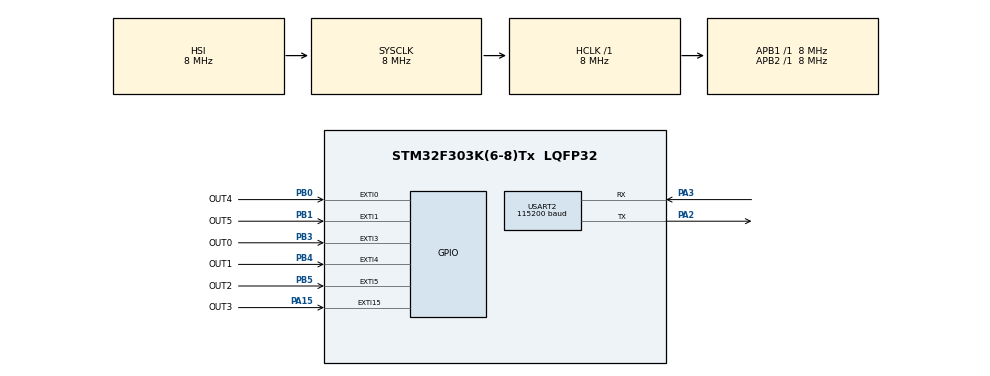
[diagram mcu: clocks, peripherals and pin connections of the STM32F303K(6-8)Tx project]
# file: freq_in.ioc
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Mcu.Family=STM32F3
RCC.CortexFreq_Value=8000000
PB4.GPIO_ModeDefaultEXTI=GPIO_MODE_IT_RISING_FALLING
NVIC.EXTI3_IRQn=true\:0\:0\:false\:false\:true\:true\:true
PB0.GPIO_Label=OUT4
PB3.GPIO_ModeDefaultEXTI=GPIO_MODE_IT_RISING_FALLING
USART2.BaudRate=115200
ProjectManager.StackSize=0x400
PA3.Mode=Asynchronous
PA15.GPIO_Label=OUT3
ProjectManager.TargetToolchain=STM32CubeIDE
PA15.GPIO_ModeDefaultEXTI=GPIO_MODE_IT_RISING_FALLING
PB1.GPIO_ModeDefaultEXTI=GPIO_MODE_IT_RISING_FALLING
RCC.AHBFreq_Value=8000000
NVIC.EXTI15_10_IRQn=true\:0\:0\:false\:false\:true\:true\:true
RCC.HSE_VALUE=8000000
board=custom
USART2.VirtualMode-Asynchronous=VM_ASYNC
PB0.GPIO_ModeDefaultEXTI=GPIO_MODE_IT_RISING_FALLING
RCC.APB2Freq_Value=8000000
PB4.GPIO_Label=OUT1
VP_TIM2_VS_ClockSourceINT.Mode=Internal
PB1.GPIO_Label=OUT5
Mcu.Name=STM32F303K(6-8)Tx
VP_TIM1_VS_ClockSourceINT.Mode=Internal
PA2.Signal=USART2_TX
PB3.Signal=GPXTI3
RCC.SYSCLKFreq_VALUE=8000000
Mcu.Package=LQFP32
PB5.Signal=GPXTI5
PB1.Signal=GPXTI1
VP_TIM15_VS_ClockSourceINT.Mode=Internal
PA15.Signal=GPXTI15
ProjectManager.HeapSize=0x200
RCC.HSI_VALUE=8000000
NVIC.PriorityGroup=NVIC_PRIORITYGROUP_4
PB5.GPIO_Label=OUT2
PA2.Mode=Asynchronous
RCC.APB1Freq_Value=8000000
PB0.Signal=GPXTI0
VP_TIM3_VS_ClockSourceINT.Mode=Internal
PB4.Signal=GPXTI4
PA3.Signal=USART2_RX
PB3.GPIO_Label=OUT0
PB5.GPIO_ModeDefaultEXTI=GPIO_MODE_IT_RISING_FALLING

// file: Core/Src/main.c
/* USER CODE BEGIN Header */
/**
  ******************************************************************************
  * @file           : main.c
  * @brief          : Main program body
  ******************************************************************************
  * @attention
  *
  * <h2><center>&copy; Copyright (c) 2021 STMicroelectronics.
  * All rights reserved.</center></h2>
  *
  * This software component is licensed by ST under BSD 3-Clause license,
  * the "License"; You may not use this file except in compliance with the
  * License. You may obtain a copy of the License at:
  *                        opensource.org/licenses/BSD-3-Clause
  *
  ******************************************************************************
  */
/* USER CODE END Header */
#include "main.h"

/* USER CODE BEGIN Includes */

#include <stdio.h>
#include "DWT.h"

/* USER CODE END Includes */

TIM_HandleTypeDef htim1;
TIM_HandleTypeDef htim2;
TIM_HandleTypeDef htim3;
TIM_HandleTypeDef htim15;

UART_HandleTypeDef huart2;

void SystemClock_Config(void);
static void MX_GPIO_Init(void);
static void MX_TIM2_Init(void);
static void MX_TIM3_Init(void);
static void MX_TIM1_Init(void);
static void MX_TIM15_Init(void);
static void MX_USART2_UART_Init(void);

/* USER CODE BEGIN 0 */

float us[4] = {};

void HAL_GPIO_EXTI_Callback(uint16_t GPIO_Pin)
{
	//経過時間を計測し、タイマーをリセット
	switch(GPIO_Pin) {
		case GPIO_PIN_3:
			us[0] = getTimeUs(htim1.Instance->CNT);

			htim1.Instance->CNT = 0;
			HAL_TIM_Base_Start_IT(&htim1);
			break;
		case GPIO_PIN_4:
			us[1] = getTimeUs(htim2.Instance->CNT);

			htim2.Instance->CNT = 0;
			HAL_TIM_Base_Start_IT(&htim2);
			break;
		case GPIO_PIN_5:
			us[2] = getTimeUs(htim3.Instance->CNT);

			htim3.Instance->CNT = 0;
			HAL_TIM_Base_Start_IT(&htim3);
			break;
		case GPIO_PIN_15:
			us[3] = getTimeUs(htim15.Instance->CNT);

			htim15.Instance->CNT = 0;
			HAL_TIM_Base_Start_IT(&htim15);
			break;
	}
}

/* USER CODE END 0 */

int main(void)
{
  /* USER CODE BEGIN 1 */

	setbuf(stdout, NULL);

  /* USER CODE END 1 */

  /* MCU Configuration--------------------------------------------------------*/

  /* Reset of all peripherals, Initializes the Flash interface and the Systick. */
  HAL_Init();

  /* Configure the system clock */
  SystemClock_Config();

  /* Initialize all configured peripherals */
  MX_GPIO_Init();
  MX_TIM2_Init();
  MX_TIM3_Init();
  MX_TIM1_Init();
  MX_TIM15_Init();
  MX_USART2_UART_Init();
  /* USER CODE BEGIN 2 */

  printf("Hello World!\n\r");

  /* USER CODE END 2 */

  /* Infinite loop */
  /* USER CODE BEGIN WHILE */
  while (1)
  {
	  HAL_Delay(500);
	  for(int i = 0; i < 4; i++) {
		  printf("OUT%d:%d ", i, (int)(500000 / us[i]));
	  }
	  printf("\n\r");
    /* USER CODE END WHILE */

  }
}

void SystemClock_Config(void)
{
  RCC_OscInitTypeDef RCC_OscInitStruct = {0};
  RCC_ClkInitTypeDef RCC_ClkInitStruct = {0};
  RCC_PeriphCLKInitTypeDef PeriphClkInit = {0};

  /** Initializes the RCC Oscillators according to the specified parameters
  * in the RCC_OscInitTypeDef structure.
  */
  RCC_OscInitStruct.OscillatorType = RCC_OSCILLATORTYPE_HSI;
  RCC_OscInitStruct.HSIState = RCC_HSI_ON;
  RCC_OscInitStruct.HSICalibrationValue = RCC_HSICALIBRATION_DEFAULT;
  RCC_OscInitStruct.PLL.PLLState = RCC_PLL_NONE;
  if (HAL_RCC_OscConfig(&RCC_OscInitStruct) != HAL_OK)
  {
    Error_Handler();
  }
  /** Initializes the CPU, AHB and APB buses clocks
  */
  RCC_ClkInitStruct.ClockType = RCC_CLOCKTYPE_HCLK|RCC_CLOCKTYPE_SYSCLK
                              |RCC_CLOCKTYPE_PCLK1|RCC_CLOCKTYPE_PCLK2;
  RCC_ClkInitStruct.SYSCLKSource = RCC_SYSCLKSOURCE_HSI;
  RCC_ClkInitStruct.AHBCLKDivider = RCC_SYSCLK_DIV1;
  RCC_ClkInitStruct.APB1CLKDivider = RCC_HCLK_DIV1;
  RCC_ClkInitStruct.APB2CLKDivider = RCC_HCLK_DIV1;

  if (HAL_RCC_ClockConfig(&RCC_ClkInitStruct, FLASH_LATENCY_0) != HAL_OK)
  {
    Error_Handler();
  }
  PeriphClkInit.PeriphClockSelection = RCC_PERIPHCLK_TIM1;
  PeriphClkInit.Tim1ClockSelection = RCC_TIM1CLK_HCLK;
  if (HAL_RCCEx_PeriphCLKConfig(&PeriphClkInit) != HAL_OK)
  {
    Error_Handler();
  }
}

static void MX_TIM1_Init(void)
{

  TIM_ClockConfigTypeDef sClockSourceConfig = {0};
  TIM_MasterConfigTypeDef sMasterConfig = {0};

  htim1.Instance = TIM1;
  htim1.Init.Prescaler = 0;
  htim1.Init.CounterMode = TIM_COUNTERMODE_UP;
  htim1.Init.Period = 65535;
  htim1.Init.ClockDivision = TIM_CLOCKDIVISION_DIV1;
  htim1.Init.RepetitionCounter = 0;
  htim1.Init.AutoReloadPreload = TIM_AUTORELOAD_PRELOAD_DISABLE;
  if (HAL_TIM_Base_Init(&htim1) != HAL_OK)
  {
    Error_Handler();
  }
  sClockSourceConfig.ClockSource = TIM_CLOCKSOURCE_INTERNAL;
  if (HAL_TIM_ConfigClockSource(&htim1, &sClockSourceConfig) != HAL_OK)
  {
    Error_Handler();
  }
  sMasterConfig.MasterOutputTrigger = TIM_TRGO_RESET;
  sMasterConfig.MasterOutputTrigger2 = TIM_TRGO2_RESET;
  sMasterConfig.MasterSlaveMode = TIM_MASTERSLAVEMODE_DISABLE;
  if (HAL_TIMEx_MasterConfigSynchronization(&htim1, &sMasterConfig) != HAL_OK)
  {
    Error_Handler();
  }

}

static void MX_TIM2_Init(void)
{

  TIM_ClockConfigTypeDef sClockSourceConfig = {0};
  TIM_MasterConfigTypeDef sMasterConfig = {0};

  htim2.Instance = TIM2;
  htim2.Init.Prescaler = 0;
  htim2.Init.CounterMode = TIM_COUNTERMODE_UP;
  htim2.Init.Period = 4294967295;
  htim2.Init.ClockDivision = TIM_CLOCKDIVISION_DIV1;
  htim2.Init.AutoReloadPreload = TIM_AUTORELOAD_PRELOAD_DISABLE;
  if (HAL_TIM_Base_Init(&htim2) != HAL_OK)
  {
    Error_Handler();
  }
  sClockSourceConfig.ClockSource = TIM_CLOCKSOURCE_INTERNAL;
  if (HAL_TIM_ConfigClockSource(&htim2, &sClockSourceConfig) != HAL_OK)
  {
    Error_Handler();
  }
  sMasterConfig.MasterOutputTrigger = TIM_TRGO_RESET;
  sMasterConfig.MasterSlaveMode = TIM_MASTERSLAVEMODE_DISABLE;
  if (HAL_TIMEx_MasterConfigSynchronization(&htim2, &sMasterConfig) != HAL_OK)
  {
    Error_Handler();
  }

}

static void MX_TIM3_Init(void)
{

  TIM_ClockConfigTypeDef sClockSourceConfig = {0};
  TIM_MasterConfigTypeDef sMasterConfig = {0};

  htim3.Instance = TIM3;
  htim3.Init.Prescaler = 0;
  htim3.Init.CounterMode = TIM_COUNTERMODE_UP;
  htim3.Init.Period = 65535;
  htim3.Init.ClockDivision = TIM_CLOCKDIVISION_DIV1;
  htim3.Init.AutoReloadPreload = TIM_AUTORELOAD_PRELOAD_DISABLE;
  if (HAL_TIM_Base_Init(&htim3) != HAL_OK)
  {
    Error_Handler();
  }
  sClockSourceConfig.ClockSource = TIM_CLOCKSOURCE_INTERNAL;
  if (HAL_TIM_ConfigClockSource(&htim3, &sClockSourceConfig) != HAL_OK)
  {
    Error_Handler();
  }
  sMasterConfig.MasterOutputTrigger = TIM_TRGO_RESET;
  sMasterConfig.MasterSlaveMode = TIM_MASTERSLAVEMODE_DISABLE;
  if (HAL_TIMEx_MasterConfigSynchronization(&htim3, &sMasterConfig) != HAL_OK)
  {
    Error_Handler();
  }

}

static void MX_TIM15_Init(void)
{

  TIM_ClockConfigTypeDef sClockSourceConfig = {0};
  TIM_MasterConfigTypeDef sMasterConfig = {0};

  htim15.Instance = TIM15;
  htim15.Init.Prescaler = 0;
  htim15.Init.CounterMode = TIM_COUNTERMODE_UP;
  htim15.Init.Period = 65535;
  htim15.Init.ClockDivision = TIM_CLOCKDIVISION_DIV1;
  htim15.Init.RepetitionCounter = 0;
  htim15.Init.AutoReloadPreload = TIM_AUTORELOAD_PRELOAD_DISABLE;
  if (HAL_TIM_Base_Init(&htim15) != HAL_OK)
  {
    Error_Handler();
  }
  sClockSourceConfig.ClockSource = TIM_CLOCKSOURCE_INTERNAL;
  if (HAL_TIM_ConfigClockSource(&htim15, &sClockSourceConfig) != HAL_OK)
  {
    Error_Handler();
  }
  sMasterConfig.MasterOutputTrigger = TIM_TRGO_RESET;
  sMasterConfig.MasterSlaveMode = TIM_MASTERSLAVEMODE_DISABLE;
  if (HAL_TIMEx_MasterConfigSynchronization(&htim15, &sMasterConfig) != HAL_OK)
  {
    Error_Handler();
  }

}

static void MX_USART2_UART_Init(void)
{

  huart2.Instance = USART2;
  huart2.Init.BaudRate = 115200;
  huart2.Init.WordLength = UART_WORDLENGTH_8B;
  huart2.Init.StopBits = UART_STOPBITS_1;
  huart2.Init.Parity = UART_PARITY_NONE;
  huart2.Init.Mode = UART_MODE_TX_RX;
  huart2.Init.HwFlowCtl = UART_HWCONTROL_NONE;
  huart2.Init.OverSampling = UART_OVERSAMPLING_16;
  huart2.Init.OneBitSampling = UART_ONE_BIT_SAMPLE_DISABLE;
  huart2.AdvancedInit.AdvFeatureInit = UART_ADVFEATURE_NO_INIT;
  if (HAL_UART_Init(&huart2) != HAL_OK)
  {
    Error_Handler();
  }

}

static void MX_GPIO_Init(void)
{
  GPIO_InitTypeDef GPIO_InitStruct = {0};

  /* GPIO Ports Clock Enable */
  __HAL_RCC_GPIOA_CLK_ENABLE();
  __HAL_RCC_GPIOB_CLK_ENABLE();

  /*Configure GPIO pins : OUT4_Pin OUT5_Pin OUT0_Pin OUT1_Pin
                           OUT2_Pin */
  GPIO_InitStruct.Pin = OUT4_Pin|OUT5_Pin|OUT0_Pin|OUT1_Pin
                          |OUT2_Pin;
  GPIO_InitStruct.Mode = GPIO_MODE_IT_RISING_FALLING;
  GPIO_InitStruct.Pull = GPIO_NOPULL;
  HAL_GPIO_Init(GPIOB, &GPIO_InitStruct);

  /*Configure GPIO pin : OUT3_Pin */
  GPIO_InitStruct.Pin = OUT3_Pin;
  GPIO_InitStruct.Mode = GPIO_MODE_IT_RISING_FALLING;
  GPIO_InitStruct.Pull = GPIO_NOPULL;
  HAL_GPIO_Init(OUT3_GPIO_Port, &GPIO_InitStruct);

  /* EXTI interrupt init*/
  HAL_NVIC_SetPriority(EXTI3_IRQn, 0, 0);
  HAL_NVIC_EnableIRQ(EXTI3_IRQn);

  HAL_NVIC_SetPriority(EXTI15_10_IRQn, 0, 0);
  HAL_NVIC_EnableIRQ(EXTI15_10_IRQn);

}

/* USER CODE BEGIN 4 */

int _write(int file, char *ptr, int len)
{
  HAL_UART_Transmit(&huart2,(uint8_t *)ptr,len,10);
  return len;
}

/* USER CODE END 4 */

void Error_Handler(void)
{
  __disable_irq();
  while (1)
  {
  }
}

/************************ (C) COPYRIGHT STMicroelectronics *****END OF FILE****/
